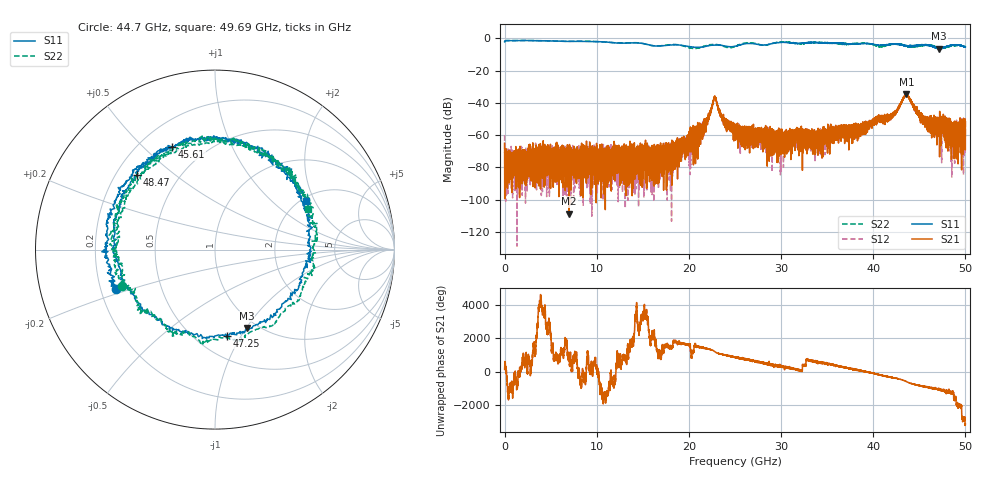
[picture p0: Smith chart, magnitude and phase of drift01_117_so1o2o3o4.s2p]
!Created with skrf (http://scikit-rf.org).
# Hz S RI R 50.0
!freq ReS11 ImS11 ReS21 ImS21 ReS12 ImS12 ReS22 ImS22
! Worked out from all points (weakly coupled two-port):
!   10001 points, 300 kHz to 50 GHz, reference 50 ohm
!   highest |S21| = -34.62 dB at 43.61 GHz (marker M1); lowest = -108.6 dB at 6.985 GHz (marker M2)
!   lowest |S11| = -6.5 dB at 47.15 GHz (marker M3), VSWR 2.78, Z = 44.9 - j50.3 ohm
!   |S11| at or under -10 dB: nowhere
!   |S22| runs from -6.4 to -1.4 dB; largest |S21 - S12| = 0.0042
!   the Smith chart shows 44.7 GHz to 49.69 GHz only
!   S11 on the Smith chart (normalised r, x): 44.7 GHz: 0.26, -0.18; 45.61 GHz: 0.33, +0.61; 47.25 GHz: 0.70, -0.87; 48.47 GHz: 0.29, +0.37; 49.69 GHz: 2.10, +1.72
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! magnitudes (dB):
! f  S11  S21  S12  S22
! 300 kHz  -2.1  -65.0  -60.1  -2.1
! 350.3 MHz  -1.4  -82.1  -76.4  -1.4
! 6.985 GHz  -2.0  -108.6  -73.3  -1.9
! 8.335 GHz  -1.9  -72.9  -72.3  -1.8
! 16.67 GHz  -4.8  -78.1  -74.5  -4.8
! 17.98 GHz  -4.2  -71.0  -70.2  -4.0
! 20.88 GHz  -5.6  -60.6  -61.0  -6.2
! 21.84 GHz  -5.0  -53.1  -52.9  -4.7
! 22.81 GHz  -4.3  -36.3  -36.0  -4.0
! 23.87 GHz  -4.8  -50.6  -52.7  -5.2
! 25 GHz  -5.0  -57.2  -58.7  -5.0
! 29.62 GHz  -2.7  -64.2  -61.5  -2.5
! 33.34 GHz  -2.6  -56.1  -59.1  -2.6
! 41.67 GHz  -3.9  -49.3  -49.9  -4.0
! 43.61 GHz  -4.8  -34.6  -35.1  -4.7
! 44.7 GHz  -4.5  -43.6  -43.8  -5.1
! 45.61 GHz  -4.2  -50.6  -51.2  -4.2
! 47.15 GHz  -6.5  -55.8  -52.4  -6.0
! 47.25 GHz  -6.3  -50.3  -58.3  -5.6
! 48.47 GHz  -4.4  -59.0  -56.9  -4.9
! 49.69 GHz  -4.8  -57.6  -72.0  -5.0
! 50 GHz  -5.5  -51.8  -50.9  -5.3
